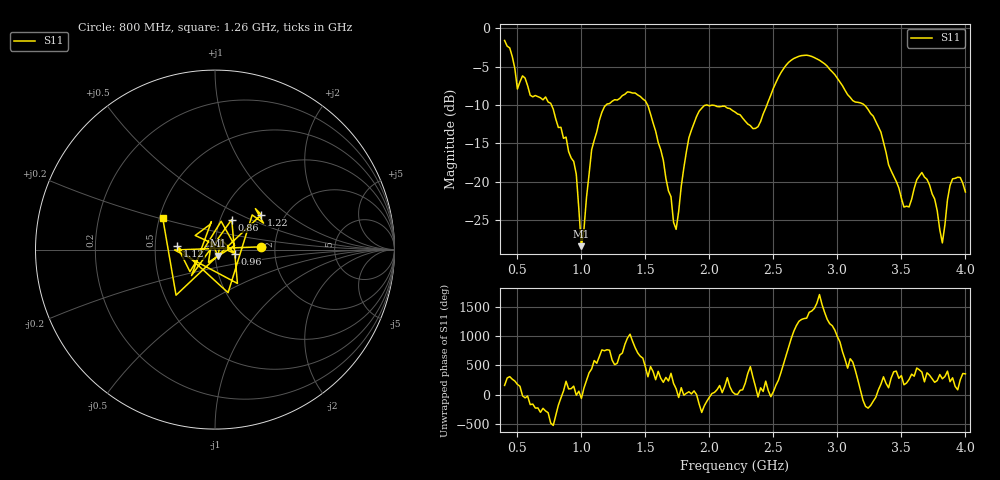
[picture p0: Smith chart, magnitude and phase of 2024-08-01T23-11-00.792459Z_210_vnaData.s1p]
!Created with skrf (http://scikit-rf.org).
# Hz S RI R 50.0
!freq ReS11 ImS11
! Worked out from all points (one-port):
!   181 points, 400 MHz to 4 GHz, reference 50 ohm
!   lowest |S11| = -28.4 dB at 1 GHz (marker M1), VSWR 1.08, Z = 51.5 - j3.56 ohm
!   |S11| at or under -10 dB: 1.517 GHz to 1.979 GHz (461.9 MHz wide, 26.4 % of centre); 1.981 GHz to 2.449 GHz (468.8 MHz wide, 21.2 % of centre); 3.209 GHz to end of sweep (the widest 3 of 4)
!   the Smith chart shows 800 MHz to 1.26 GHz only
!   S11 on the Smith chart (normalised r, x): 800 MHz: 1.68, +0.06; 860 MHz: 1.13, +0.39; 960 MHz: 1.24, -0.05; 1.12 GHz: 0.65, +0.03; 1.22 GHz: 1.52, +0.66; 1.26 GHz: 0.52, +0.21
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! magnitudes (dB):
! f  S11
! 400 MHz  -1.6
! 500 MHz  -7.9
! 540 MHz  -6.2
! 800 MHz  -11.9
! 860 MHz  -14.3
! 960 MHz  -19.0
! 1 GHz  -28.4
! 1.08 GHz  -15.8
! 1.12 GHz  -13.5
! 1.22 GHz  -9.8
! 1.26 GHz  -9.3
! 1.3 GHz  -9.1
! 1.52 GHz  -10.1
! 1.72 GHz  -25.3
! 1.76 GHz  -23.9
! 1.84 GHz  -14.3
! 1.92 GHz  -10.8
! 2.2 GHz  -10.9
! 2.38 GHz  -12.8
! 2.66 GHz  -3.9
! 3.1 GHz  -9.0
! 3.28 GHz  -11.5
! 3.56 GHz  -23.3
! 3.66 GHz  -18.8
! 3.76 GHz  -22.3
! 3.82 GHz  -28.0
! 3.9 GHz  -19.6
! 4 GHz  -21.3
